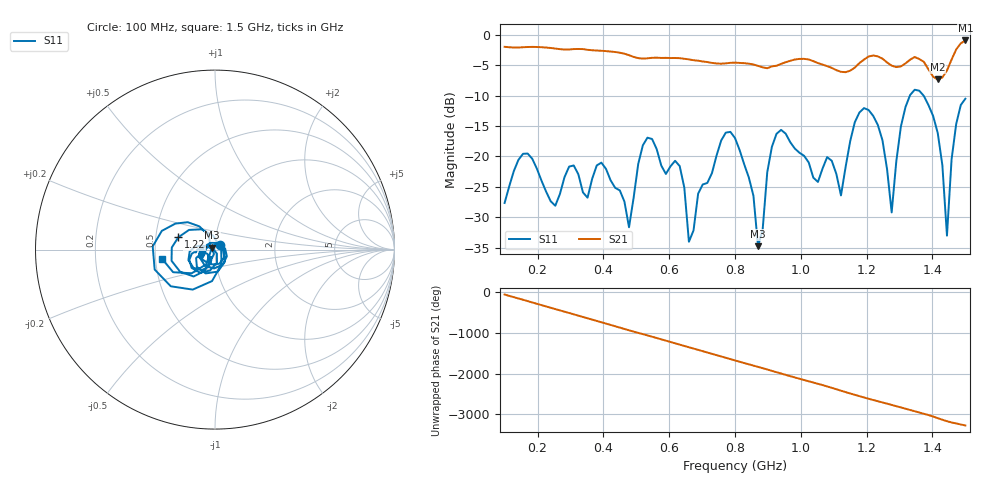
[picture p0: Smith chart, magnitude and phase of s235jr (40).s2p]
! NanoVNA-App
! Date: 2025-09-26 09:45:06
! Start: 100MHz Stop: 1,5GHz Points: 101
! S-Parameter data: F S11 S21 S12 S22
# Hz S RI R 50
!  Frequency  S11_Real  S11_Imag  S21_Real  S21_Imag  S12_Real  S12_Imag  S22_Real  S22_Imag
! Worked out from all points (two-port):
!   101 points, 100 MHz to 1.5 GHz, reference 50 ohm
!   highest |S21| = -0.91 dB at 1.5 GHz (marker M1); lowest = -7.3 dB at 1.416 GHz (marker M2)
!   |S21| within 3 dB of the highest: start of sweep to 644.4 MHz; 1.196 GHz to 1.248 GHz (52.17 MHz wide, 4.27 % of centre)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
!   lowest |S11| = -34.8 dB at 870 MHz (marker M3), VSWR 1.04, Z = 48.5 + j0.999 ohm
!   |S11| at or under -10 dB: start of sweep to 1.331 GHz; 1.373 GHz to end of sweep
!   S12 and S22 are empty: the file has one direction only
!   S11 on the Smith chart (normalised r, x): 100 MHz: 1.06, +0.06; 1.22 GHz: 0.66, +0.09; 1.5 GHz: 0.54, -0.06
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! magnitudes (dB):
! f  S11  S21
! 100 MHz  -27.6  -2.0
! 156 MHz  -19.6  -2.0
! 338 MHz  -25.9  -2.3
! 394 MHz  -21.0  -2.6
! 478 MHz  -31.6  -3.3
! 520 MHz  -18.2  -3.9
! 576 MHz  -21.5  -3.8
! 632 MHz  -21.6  -3.8
! 660 MHz  -34.0  -4.0
! 800 MHz  -17.0  -4.6
! 870 MHz  -34.8  -5.1
! 926 MHz  -16.3  -5.1
! 1.038 GHz  -23.5  -4.3
! 1.122 GHz  -26.4  -6.1
! 1.164 GHz  -14.4  -5.4
! 1.22 GHz  -13.3  -3.4
! 1.276 GHz  -29.2  -5.1
! 1.332 GHz  -9.9  -4.1
! 1.416 GHz  -16.1  -7.3
! 1.444 GHz  -33.0  -5.9
! 1.472 GHz  -14.7  -2.4
! 1.5 GHz  -10.5  -0.9
